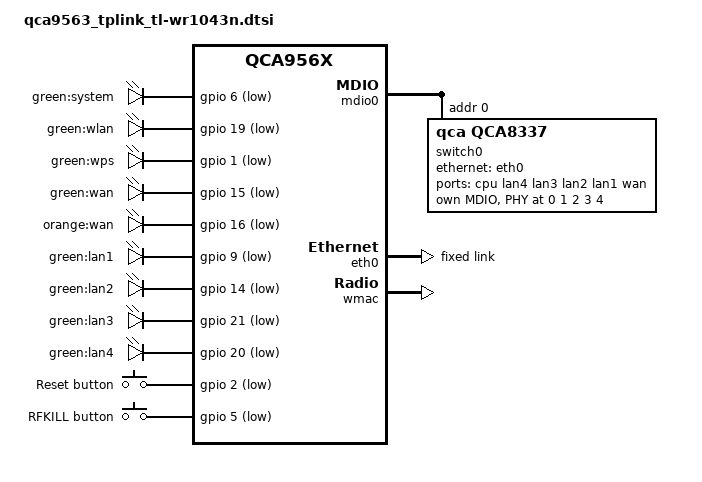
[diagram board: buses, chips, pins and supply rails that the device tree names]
// SPDX-License-Identifier: GPL-2.0-or-later OR MIT

#include "qca956x.dtsi"

#include <dt-bindings/gpio/gpio.h>
#include <dt-bindings/input/input.h>

/ {
	aliases {
		led-boot = &led_system;
		led-failsafe = &led_system;
		led-running = &led_system;
		led-upgrade = &led_system;
	};

	leds: leds {
		compatible = "gpio-leds";

		led_system: system {
			label = "green:system";
			gpios = <&gpio 6 GPIO_ACTIVE_LOW>;
			linux,default-trigger = "heartbeat";
		};

		wifi_green {
			label = "green:wlan";
			gpios = <&gpio 19 GPIO_ACTIVE_LOW>;
			linux,default-trigger = "phy0tpt";
		};

		wifi_wps {
			label = "green:wps";
			gpios = <&gpio 1 GPIO_ACTIVE_LOW>;
		};

		wan {
			label = "green:wan";
			gpios = <&gpio 15 GPIO_ACTIVE_LOW>;
		};

		wan_fail {
			label = "orange:wan";
			gpios = <&gpio 16 GPIO_ACTIVE_LOW>;
		};

		lan1 {
			label = "green:lan1";
			gpios = <&gpio 9 GPIO_ACTIVE_LOW>;
		};

		lan2 {
			label = "green:lan2";
			gpios = <&gpio 14 GPIO_ACTIVE_LOW>;
		};

		lan3 {
			label = "green:lan3";
			gpios = <&gpio 21 GPIO_ACTIVE_LOW>;
		};

		lan4 {
			label = "green:lan4";
			gpios = <&gpio 20 GPIO_ACTIVE_LOW>;
		};
	};

	keys {
		compatible = "gpio-keys";

		reset {
			label = "Reset button";
			linux,code = <KEY_RESTART>;
			gpios = <&gpio 2 GPIO_ACTIVE_LOW>;
			debounce-interval = <60>;
		};

		wifi {
			label = "RFKILL button";
			linux,code = <KEY_RFKILL>;
			gpios = <&gpio 5 GPIO_ACTIVE_LOW>;
			debounce-interval = <60>;
		};
	};
};

&mdio0 {
	status = "okay";

	phy-mask = <0>;

	switch0@10 {
		compatible = "qca,qca8337";
		#address-cells = <1>;
		#size-cells = <0>;

		reg = <0>;

		ports {
			#address-cells = <1>;
			#size-cells = <0>;

			port@0 {
				reg = <0>;
				label = "cpu";
				ethernet = <&eth0>;
				phy-mode = "sgmii";
				qca,sgmii-rxclk-falling-edge;

				fixed-link {
					speed = <1000>;
					full-duplex;
				};
			};

			port@1 {
				reg = <1>;
				label = "lan4";
				phy-mode = "internal";
				phy-handle = <&phy_port1>;
			};

			port@2 {
				reg = <2>;
				label = "lan3";
				phy-mode = "internal";
				phy-handle = <&phy_port2>;
			};

			port@3 {
				reg = <3>;
				label = "lan2";
				phy-mode = "internal";
				phy-handle = <&phy_port3>;
			};

			port@4 {
				reg = <4>;
				label = "lan1";
				phy-mode = "internal";
				phy-handle = <&phy_port4>;
			};

			port@5 {
				reg = <5>;
				label = "wan";
				phy-mode = "internal";
				phy-handle = <&phy_port5>;
			};
		};

		mdio {
			#address-cells = <1>;
			#size-cells = <0>;

			phy_port1: phy@0 {
				reg = <0>;
			};

			phy_port2: phy@1 {
				reg = <1>;
			};

			phy_port3: phy@2 {
				reg = <2>;
			};

			phy_port4: phy@3 {
				reg = <3>;
			};

			phy_port5: phy@4 {
				reg = <4>;
			};
		};
	};
};

&eth0 {
	status = "okay";

	fixed-link {
		speed = <1000>;
		full-duplex;
	};
};

&wmac {
	status = "okay";
};
